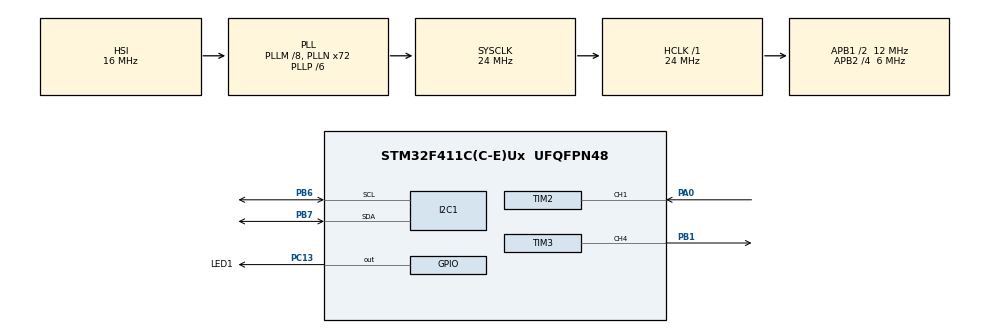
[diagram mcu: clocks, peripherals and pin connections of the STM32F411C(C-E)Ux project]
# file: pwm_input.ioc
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Mcu.Family=STM32F4
Mcu.Name=STM32F411C(C-E)Ux
Mcu.Package=UFQFPN48
NVIC.I2C1_EV_IRQn=true\:0\:0\:false\:false\:true\:true\:true\:true
NVIC.PriorityGroup=NVIC_PRIORITYGROUP_4
NVIC.TIM2_IRQn=true\:0\:0\:false\:false\:true\:true\:true\:true
PA0-WKUP.Signal=S_TIM2_CH1_ETR
PB1.Signal=S_TIM3_CH4
PB6.Mode=I2C
PB6.Signal=I2C1_SCL
PB7.Mode=I2C
PB7.Signal=I2C1_SDA
PC13-ANTI_TAMP.GPIO_Label=LED1
PC13-ANTI_TAMP.Signal=GPIO_Output
PH0\ -\ OSC_IN.Mode=HSE-External-Oscillator
PH0\ -\ OSC_IN.Signal=RCC_OSC_IN
PH1\ -\ OSC_OUT.Mode=HSE-External-Oscillator
PH1\ -\ OSC_OUT.Signal=RCC_OSC_OUT
ProjectManager.HeapSize=0x200
ProjectManager.StackSize=0x400
ProjectManager.TargetToolchain=STM32CubeIDE
RCC.48MHZClocksFreq_Value=36000000
RCC.AHBFreq_Value=24000000
RCC.APB1CLKDivider=RCC_HCLK_DIV2
RCC.APB1Freq_Value=12000000
RCC.APB1TimFreq_Value=24000000
RCC.APB2CLKDivider=RCC_HCLK_DIV4
RCC.APB2Freq_Value=6000000
RCC.APB2TimFreq_Value=12000000
RCC.CortexFreq_Value=24000000
RCC.HCLKFreq_Value=24000000
RCC.HSE_VALUE=25000000
RCC.HSI_VALUE=16000000
RCC.LSE_VALUE=32768
RCC.PLLM=8
RCC.PLLN=72
RCC.PLLP=RCC_PLLP_DIV6
RCC.SYSCLKFreq_VALUE=24000000
RCC.SYSCLKSource=RCC_SYSCLKSOURCE_PLLCLK
RCC.VCOOutputFreq_Value=144000000
SH.S_TIM2_CH1_ETR.0=TIM2_CH1,Input_Capture1_from_TI1
SH.S_TIM3_CH4.0=TIM3_CH4,PWM Generation4 CH4
TIM2.Channel-Input_Capture1_from_TI1=TIM_CHANNEL_1
TIM2.Channel-Input_Capture2_from_TI1_63=TIM_CHANNEL_2
TIM2.ICPolarity_CH2=TIM_INPUTCHANNELPOLARITY_FALLING
TIM2.Period=1000-1
TIM2.Prescaler=192-1
TIM3.Channel-PWM\ Generation4\ CH4=TIM_CHANNEL_4
TIM3.Period=4-1
TIM3.Prescaler=192-1
VP_TIM2_VS_indirect_ch1.Mode=Input_Capture2_from_TI1_63
board=custom

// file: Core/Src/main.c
/* USER CODE BEGIN Header */
/**
  ******************************************************************************
  * @file           : main.c
  * @brief          : Main program body
  ******************************************************************************
  * @attention
  *
  * Copyright (c) 2023 STMicroelectronics.
  * All rights reserved.
  *
  * This software is licensed under terms that can be found in the LICENSE file
  * in the root directory of this software component.
  * If no LICENSE file comes with this software, it is provided AS-IS.
  *
  ******************************************************************************
  */
/* USER CODE END Header */
#include "main.h"

/* USER CODE BEGIN Includes */
#include "ssd1306.h"
#include <stdio.h>
/* USER CODE END Includes */

I2C_HandleTypeDef hi2c1;
TIM_HandleTypeDef htim2;
TIM_HandleTypeDef htim3;

/* USER CODE BEGIN PV */
char voltageBuff[100];
char periodBuff[100];
uint32_t period;
uint32_t pulseWidth;
char pulseWidthBuff[100];
char textBuff[100];
/* USER CODE END PV */

void SystemClock_Config(void);
static void MX_GPIO_Init(void);
static void MX_I2C1_Init(void);
static void MX_TIM3_Init(void);
static void MX_TIM2_Init(void);
/* USER CODE BEGIN PFP */
static void print_num(float);
static void print_pwm(uint32_t, uint32_t);
static float convert_v(uint32_t, uint32_t);
static void print_text(char*, int);
/* USER CODE END PFP */

int main(void)
{

  /* MCU Configuration--------------------------------------------------------*/

  /* Reset of all peripherals, Initializes the Flash interface and the Systick. */
  HAL_Init();

  /* Configure the system clock */
  SystemClock_Config();

  /* Initialize all configured peripherals */
  MX_GPIO_Init();
  MX_I2C1_Init();
  MX_TIM3_Init();
  MX_TIM2_Init();
  /* USER CODE BEGIN 2 */
  ssd1306_Init();
  HAL_TIM_PWM_Start(&htim3, TIM_CHANNEL_4);
  HAL_TIM_IC_Start_IT(&htim2, TIM_CHANNEL_1);
  HAL_TIM_IC_Start_IT(&htim2, TIM_CHANNEL_2);
  /* USER CODE END 2 */

  /* Infinite loop */
  /* USER CODE BEGIN WHILE */
  while (1)
  {
//	printNum(3);
	for(int i = 0; i < 4; i++) {
	   print_text("up", i);
	   __HAL_TIM_SetCompare(&htim3, TIM_CHANNEL_4, i);
	   HAL_GPIO_TogglePin(LED1_GPIO_Port, LED1_Pin);
	   print_pwm(period, pulseWidth);
	   print_num(convert_v(period, pulseWidth));
	   HAL_Delay(100);
	}
	for(int i = 4; i > 0; i--) {
		print_text("down", i);
	   __HAL_TIM_SetCompare(&htim3, TIM_CHANNEL_4, i);
	   HAL_GPIO_TogglePin(LED1_GPIO_Port, LED1_Pin);
	   print_pwm(period, pulseWidth);
	   print_num(convert_v(period, pulseWidth));
	   HAL_Delay(100);
	}
    /* USER CODE END WHILE */

  }
}

void SystemClock_Config(void)
{
  RCC_OscInitTypeDef RCC_OscInitStruct = {0};
  RCC_ClkInitTypeDef RCC_ClkInitStruct = {0};

  /** Configure the main internal regulator output voltage
  */
  __HAL_RCC_PWR_CLK_ENABLE();
  __HAL_PWR_VOLTAGESCALING_CONFIG(PWR_REGULATOR_VOLTAGE_SCALE1);

  /** Initializes the RCC Oscillators according to the specified parameters
  * in the RCC_OscInitTypeDef structure.
  */
  RCC_OscInitStruct.OscillatorType = RCC_OSCILLATORTYPE_HSI;
  RCC_OscInitStruct.HSIState = RCC_HSI_ON;
  RCC_OscInitStruct.HSICalibrationValue = RCC_HSICALIBRATION_DEFAULT;
  RCC_OscInitStruct.PLL.PLLState = RCC_PLL_ON;
  RCC_OscInitStruct.PLL.PLLSource = RCC_PLLSOURCE_HSI;
  RCC_OscInitStruct.PLL.PLLM = 8;
  RCC_OscInitStruct.PLL.PLLN = 72;
  RCC_OscInitStruct.PLL.PLLP = RCC_PLLP_DIV6;
  RCC_OscInitStruct.PLL.PLLQ = 4;
  if (HAL_RCC_OscConfig(&RCC_OscInitStruct) != HAL_OK)
  {
    Error_Handler();
  }

  /** Initializes the CPU, AHB and APB buses clocks
  */
  RCC_ClkInitStruct.ClockType = RCC_CLOCKTYPE_HCLK|RCC_CLOCKTYPE_SYSCLK
                              |RCC_CLOCKTYPE_PCLK1|RCC_CLOCKTYPE_PCLK2;
  RCC_ClkInitStruct.SYSCLKSource = RCC_SYSCLKSOURCE_PLLCLK;
  RCC_ClkInitStruct.AHBCLKDivider = RCC_SYSCLK_DIV1;
  RCC_ClkInitStruct.APB1CLKDivider = RCC_HCLK_DIV2;
  RCC_ClkInitStruct.APB2CLKDivider = RCC_HCLK_DIV4;

  if (HAL_RCC_ClockConfig(&RCC_ClkInitStruct, FLASH_LATENCY_0) != HAL_OK)
  {
    Error_Handler();
  }
}

static void MX_I2C1_Init(void)
{

  hi2c1.Instance = I2C1;
  hi2c1.Init.ClockSpeed = 100000;
  hi2c1.Init.DutyCycle = I2C_DUTYCYCLE_2;
  hi2c1.Init.OwnAddress1 = 0;
  hi2c1.Init.AddressingMode = I2C_ADDRESSINGMODE_7BIT;
  hi2c1.Init.DualAddressMode = I2C_DUALADDRESS_DISABLE;
  hi2c1.Init.OwnAddress2 = 0;
  hi2c1.Init.GeneralCallMode = I2C_GENERALCALL_DISABLE;
  hi2c1.Init.NoStretchMode = I2C_NOSTRETCH_DISABLE;
  if (HAL_I2C_Init(&hi2c1) != HAL_OK)
  {
    Error_Handler();
  }

}

static void MX_TIM2_Init(void)
{

  TIM_MasterConfigTypeDef sMasterConfig = {0};
  TIM_IC_InitTypeDef sConfigIC = {0};

  htim2.Instance = TIM2;
  htim2.Init.Prescaler = 192-1;
  htim2.Init.CounterMode = TIM_COUNTERMODE_UP;
  htim2.Init.Period = 1000-1;
  htim2.Init.ClockDivision = TIM_CLOCKDIVISION_DIV1;
  htim2.Init.AutoReloadPreload = TIM_AUTORELOAD_PRELOAD_DISABLE;
  if (HAL_TIM_IC_Init(&htim2) != HAL_OK)
  {
    Error_Handler();
  }
  sMasterConfig.MasterOutputTrigger = TIM_TRGO_RESET;
  sMasterConfig.MasterSlaveMode = TIM_MASTERSLAVEMODE_DISABLE;
  if (HAL_TIMEx_MasterConfigSynchronization(&htim2, &sMasterConfig) != HAL_OK)
  {
    Error_Handler();
  }
  sConfigIC.ICPolarity = TIM_INPUTCHANNELPOLARITY_RISING;
  sConfigIC.ICSelection = TIM_ICSELECTION_DIRECTTI;
  sConfigIC.ICPrescaler = TIM_ICPSC_DIV1;
  sConfigIC.ICFilter = 0;
  if (HAL_TIM_IC_ConfigChannel(&htim2, &sConfigIC, TIM_CHANNEL_1) != HAL_OK)
  {
    Error_Handler();
  }
  sConfigIC.ICPolarity = TIM_INPUTCHANNELPOLARITY_FALLING;
  sConfigIC.ICSelection = TIM_ICSELECTION_INDIRECTTI;
  if (HAL_TIM_IC_ConfigChannel(&htim2, &sConfigIC, TIM_CHANNEL_2) != HAL_OK)
  {
    Error_Handler();
  }

}

static void MX_TIM3_Init(void)
{

  TIM_MasterConfigTypeDef sMasterConfig = {0};
  TIM_OC_InitTypeDef sConfigOC = {0};

  htim3.Instance = TIM3;
  htim3.Init.Prescaler = 192-1;
  htim3.Init.CounterMode = TIM_COUNTERMODE_UP;
  htim3.Init.Period = 4-1;
  htim3.Init.ClockDivision = TIM_CLOCKDIVISION_DIV1;
  htim3.Init.AutoReloadPreload = TIM_AUTORELOAD_PRELOAD_DISABLE;
  if (HAL_TIM_PWM_Init(&htim3) != HAL_OK)
  {
    Error_Handler();
  }
  sMasterConfig.MasterOutputTrigger = TIM_TRGO_RESET;
  sMasterConfig.MasterSlaveMode = TIM_MASTERSLAVEMODE_DISABLE;
  if (HAL_TIMEx_MasterConfigSynchronization(&htim3, &sMasterConfig) != HAL_OK)
  {
    Error_Handler();
  }
  sConfigOC.OCMode = TIM_OCMODE_PWM1;
  sConfigOC.Pulse = 0;
  sConfigOC.OCPolarity = TIM_OCPOLARITY_HIGH;
  sConfigOC.OCFastMode = TIM_OCFAST_DISABLE;
  if (HAL_TIM_PWM_ConfigChannel(&htim3, &sConfigOC, TIM_CHANNEL_4) != HAL_OK)
  {
    Error_Handler();
  }
  HAL_TIM_MspPostInit(&htim3);

}

static void MX_GPIO_Init(void)
{
  GPIO_InitTypeDef GPIO_InitStruct = {0};

  /* GPIO Ports Clock Enable */
  __HAL_RCC_GPIOC_CLK_ENABLE();
  __HAL_RCC_GPIOH_CLK_ENABLE();
  __HAL_RCC_GPIOA_CLK_ENABLE();
  __HAL_RCC_GPIOB_CLK_ENABLE();

  /*Configure GPIO pin Output Level */
  HAL_GPIO_WritePin(LED1_GPIO_Port, LED1_Pin, GPIO_PIN_RESET);

  /*Configure GPIO pin : LED1_Pin */
  GPIO_InitStruct.Pin = LED1_Pin;
  GPIO_InitStruct.Mode = GPIO_MODE_OUTPUT_PP;
  GPIO_InitStruct.Pull = GPIO_NOPULL;
  GPIO_InitStruct.Speed = GPIO_SPEED_FREQ_LOW;
  HAL_GPIO_Init(LED1_GPIO_Port, &GPIO_InitStruct);

}

/* USER CODE BEGIN 4 */
static void print_num(float x){
	snprintf(voltageBuff, sizeof(voltageBuff), "Voltage: %.6f  ", x);
//	snprintf(voltageBuff, sizeof(voltageBuff), "Voltage: %i", x);
	ssd1306_SetCursor(0, 30);
	ssd1306_WriteString(voltageBuff, Font_7x10, White);
	ssd1306_UpdateScreen();
}

static float convert_v(uint32_t period, uint32_t pulseWidth){
	return 3.3*pulseWidth/period;
}

static void print_text(char* text, int i){
	snprintf(textBuff, sizeof(textBuff), "%s: %i   ", text, i);
	ssd1306_SetCursor(0, 45);
	ssd1306_WriteString(textBuff, Font_7x10, White);
	ssd1306_UpdateScreen();
}

static void print_pwm(uint32_t period, uint32_t pulseWidth){
	snprintf(periodBuff, sizeof(periodBuff), "period: %li   ", period);
	snprintf(pulseWidthBuff, sizeof(pulseWidthBuff), "pulseWidth: %li  ", pulseWidth);
	ssd1306_SetCursor(0, 0);
	ssd1306_WriteString(periodBuff, Font_7x10, White);
	ssd1306_SetCursor(0, 15);
	ssd1306_WriteString(pulseWidthBuff, Font_7x10, White);
	ssd1306_UpdateScreen();
}

void HAL_TIM_IC_CaptureCallback(TIM_HandleTypeDef *htim)
{
    if (htim->Instance == TIM2)
    {
        if(htim->Channel == HAL_TIM_ACTIVE_CHANNEL_1)
        {
            TIM2->CNT = 0;

            period = HAL_TIM_ReadCapturedValue(&htim2, TIM_CHANNEL_1);
            pulseWidth = HAL_TIM_ReadCapturedValue(&htim2, TIM_CHANNEL_2);
        }
    }
}

/* USER CODE END 4 */

void Error_Handler(void)
{
  __disable_irq();
  while (1)
  {
  }
}
